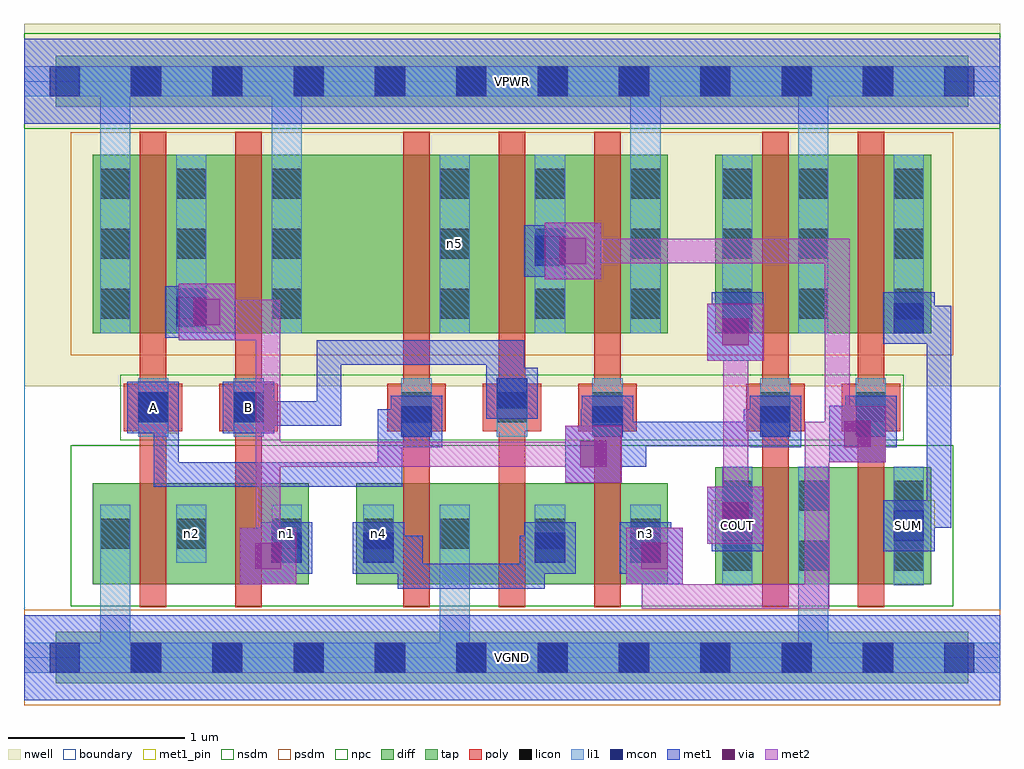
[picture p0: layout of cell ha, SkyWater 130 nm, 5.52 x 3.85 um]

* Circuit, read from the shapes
.subckt ha A B COUT SUM VGND VPWR n1 n2 n3 n4 n5
XM1 n2 A VGND VGND sky130_fd_pr__nfet_01v8 w=0.57 l=0.15
XM2 n1 B n2 VGND sky130_fd_pr__nfet_01v8 w=0.57 l=0.15
XM3 VGND A n4 VGND sky130_fd_pr__nfet_01v8 w=0.57 l=0.15
XM4 n4 B VGND VGND sky130_fd_pr__nfet_01v8 w=0.57 l=0.15
XM5 n3 n1 n4 VGND sky130_fd_pr__nfet_01v8 w=0.57 l=0.15
XM6 VGND n1 COUT VGND sky130_fd_pr__nfet_01v8 w=0.66 l=0.15
XM7 SUM n3 VGND VGND sky130_fd_pr__nfet_01v8 w=0.66 l=0.15
XM8 n1 A VPWR VPWR sky130_fd_pr__pfet_01v8 w=1.01 l=0.15
XM9 VPWR B n1 VPWR sky130_fd_pr__pfet_01v8 w=1.01 l=0.15
XM10 n5 A VPWR VPWR sky130_fd_pr__pfet_01v8 w=1.01 l=0.15
XM11 n3 B n5 VPWR sky130_fd_pr__pfet_01v8 w=1.01 l=0.15
XM12 VPWR n1 n3 VPWR sky130_fd_pr__pfet_01v8 w=1.01 l=0.15
XM13 VPWR n1 COUT VPWR sky130_fd_pr__pfet_01v8 w=1.01 l=0.15
XM14 SUM n3 VPWR VPWR sky130_fd_pr__pfet_01v8 w=1.01 l=0.15
.ends

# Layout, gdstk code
import gdstk
lib = gdstk.Library(unit=1e-6, precision=1e-09)
def R(c, l, rs):  # rectangles x0, y0, x1, y1
    for r in rs: c.add(gdstk.rectangle(r[:2], r[2:], *l))
def A(c, l, x, y, w, h, nx, ny, dx, dy):  # array of equal rectangles
    R(c, l, [(x+i*dx, y+j*dy, x+i*dx+w, y+j*dy+h) for i in range(nx) for j in range(ny)])
nwell = (64, 20)
diff = (65, 20)
tap = (65, 44)
poly = (66, 20)
licon = (66, 44)
li1 = (67, 20)
mcon = (67, 44)
met1_pin = (68, 16)
met1 = (68, 20)
via = (68, 44)
met2 = (69, 20)
nsdm = (93, 44)
psdm = (94, 20)
npc = (95, 20)
boundary = (235, 4)

c_ha = lib.new_cell('ha')
R(c_ha, nwell, [(0,1.535,5.52,3.585)])
R(c_ha, diff, [(0.39,0.415,1.61,0.985), (1.88,0.415,3.64,0.985), (3.91,0.415,5.13,1.075), (0.39,1.835,3.64,2.845), (3.91,1.835,5.13,2.845)])
R(c_ha, tap, [(0.18,-0.145,5.34,0.145), (0.18,3.115,5.34,3.405)])
A(c_ha, poly, 2.145, 0.285, 0.15, 2.69, 3, 1, 0.54, 0)
A(c_ha, poly, 2.055, 1.28, 0.33, 0.27, 3, 1, 0.54, 0)
R(c_ha, poly, [(0.655,0.285,0.805,2.975), (1.195,0.285,1.345,2.975), (4.175,0.285,4.325,2.975), (4.715,0.285,4.865,2.975), (0.565,1.28,0.895,1.55), (1.105,1.28,1.435,1.55), (4.085,1.28,4.415,1.55), (4.625,1.28,4.955,1.55)])
A(c_ha, licon, 0.605, -0.085, 0.17, 0.17, 10, 2, 0.46, 3.26)
A(c_ha, licon, 2.35, 0.615, 0.17, 0.17, 3, 2, 0.54, 1.3)
A(c_ha, licon, 2.135, 1.33, 0.17, 0.17, 3, 1, 0.54, 0)
A(c_ha, licon, 0.43, 1.915, 0.17, 0.17, 1, 3, 0, 0.34)
A(c_ha, licon, 0.86, 1.915, 0.17, 0.17, 1, 3, 0, 0.34)
A(c_ha, licon, 1.4, 1.915, 0.17, 0.17, 1, 3, 0, 0.34)
A(c_ha, licon, 3.95, 1.915, 0.17, 0.17, 1, 3, 0, 0.34)
A(c_ha, licon, 4.38, 1.915, 0.17, 0.17, 1, 3, 0, 0.34)
A(c_ha, licon, 4.92, 1.915, 0.17, 0.17, 1, 3, 0, 0.34)
A(c_ha, licon, 2.35, 2.255, 0.17, 0.17, 3, 2, 0.54, 0.34)
R(c_ha, licon, [(3.95,0.49,4.12,0.66), (4.38,0.49,4.55,0.66), (4.92,0.49,5.09,0.66), (0.43,0.615,0.6,0.785), (0.86,0.615,1.03,0.785), (1.4,0.615,1.57,0.785), (1.92,0.615,2.09,0.785), (3.95,0.83,4.12,1), (4.38,0.83,4.55,1), (4.92,0.83,5.09,1), (0.645,1.33,0.815,1.5), (1.185,1.33,1.355,1.5), (4.165,1.33,4.335,1.5), (4.705,1.33,4.875,1.5)])
A(c_ha, li1, 2.35, 0.535, 0.17, 0.33, 3, 1, 0.54, 0)
A(c_ha, li1, 2.135, 1.25, 0.17, 0.33, 3, 1, 0.54, 0)
A(c_ha, li1, 2.35, 1.835, 0.17, 1.01, 3, 1, 0.54, 0)
R(c_ha, li1, [(0,-0.085,5.52,0.085), (0.43,-0.085,0.6,0.865), (2.35,-0.085,2.52,0.865), (4.38,-0.085,4.55,1.08), (3.95,0.41,4.12,1.08), (4.38,0.41,4.55,1.08), (4.92,0.41,5.09,1.08), (0.43,0.535,0.6,0.865), (0.86,0.535,1.03,0.865), (1.4,0.535,1.57,0.865), (1.92,0.535,2.09,0.865), (0.645,1.25,0.815,1.58), (1.185,1.25,1.355,1.58), (4.165,1.25,4.335,1.58), (4.705,1.25,4.875,1.58), (0.43,1.835,0.6,2.845), (0.43,1.835,0.6,3.345), (0.86,1.835,1.03,2.845), (1.4,1.835,1.57,2.845), (1.4,1.835,1.57,3.345), (3.43,1.835,3.6,3.345), (3.95,1.835,4.12,2.845), (4.38,1.835,4.55,2.845), (4.38,1.835,4.55,3.345), (4.92,1.835,5.09,2.845), (0,3.175,5.52,3.345)])
A(c_ha, mcon, 0.145, -0.085, 0.17, 0.17, 12, 2, 0.46, 3.26)
R(c_ha, mcon, [(1.4,0.535,1.57,0.705), (1.92,0.535,2.09,0.705), (2.89,0.535,3.06,0.705), (3.43,0.535,3.6,0.705), (3.95,0.66,4.12,0.83), (4.92,0.66,5.09,0.83), (2.135,1.25,2.305,1.42), (3.215,1.25,3.385,1.42), (4.165,1.25,4.335,1.42), (4.705,1.25,4.875,1.42), (0.645,1.33,0.815,1.5), (1.185,1.33,1.355,1.5), (2.675,1.41,2.845,1.58), (3.95,1.835,4.12,2.005), (4.92,1.835,5.09,2.005), (0.86,1.87,1.03,2.04), (2.89,2.215,3.06,2.385)])
R(c_ha, met1_pin, [(0,-0.24,5.52,0.24), (3.89,0.6,4.18,0.89), (4.86,0.6,5.15,0.89), (0.585,1.27,0.875,1.56), (1.125,1.27,1.415,1.56), (0,3.02,5.52,3.5)])
R(c_ha, met1, [(0,-0.24,5.52,0.24), (2.115,0.39,2.945,0.53), (2.115,0.39,2.255,0.69), (2.805,0.39,2.945,0.69), (1.22,0.415,1.54,0.735), (3.405,0.415,3.725,0.735), (1.34,0.475,1.63,0.765), (1.86,0.475,2.15,0.765), (2.83,0.475,3.12,0.765), (3.37,0.475,3.66,0.765), (1.31,0.505,1.45,0.69), (3.495,0.505,3.635,0.69), (1.31,0.55,1.555,0.69), (1.935,0.55,2.255,0.69), (2.805,0.55,3.045,0.69), (3.445,0.55,3.635,0.69), (3.89,0.6,4.18,0.89), (4.86,0.6,5.15,0.89), (3.865,0.645,4.185,0.965), (3.955,0.735,4.095,0.875), (4.99,0.735,5.13,0.875), (4.99,0.735,5.245,0.875), (5.105,0.735,5.245,1.795), (0.735,0.965,0.875,1.45), (0.735,0.965,2.14,1.105), (2,0.965,2.14,1.22), (3.06,0.99,3.38,1.31), (2,1.08,2.14,1.405), (3.15,1.08,3.29,1.405), (3.15,1.08,3.52,1.22), (3.29,1.08,3.38,1.335), (3.38,1.08,3.52,1.335), (4.555,1.105,4.875,1.425), (2.075,1.19,2.365,1.48), (3.155,1.19,3.445,1.48), (4.105,1.19,4.395,1.48), (4.645,1.19,4.935,1.48), (3.38,1.195,4.21,1.335), (4.07,1.195,4.21,1.405), (4.645,1.195,4.785,1.405), (2,1.265,2.29,1.405), (3.15,1.265,3.37,1.405), (4.07,1.265,4.32,1.405), (4.645,1.265,4.86,1.405), (0.585,1.27,0.875,1.56), (1.125,1.27,1.415,1.56), (0.735,1.31,0.875,1.45), (1.195,1.31,1.335,1.45), (1.195,1.31,1.795,1.45), (1.655,1.31,1.795,1.795), (2.615,1.35,2.905,1.64), (2.69,1.425,2.83,1.795), (2.615,1.64,2.83,1.655), (1.655,1.655,2.83,1.795), (5.105,1.655,5.245,1.99), (3.865,1.68,4.185,2), (3.955,1.77,4.095,1.99), (3.89,1.775,4.18,2.065), (4.86,1.775,5.15,2.065), (0.875,1.795,1.195,2.115), (0.8,1.81,1.09,2.1), (3.955,1.85,4.105,1.99), (4.935,1.85,5.245,1.99), (0.875,1.885,1.105,2.025), (2.945,2.14,3.265,2.46), (2.83,2.155,3.12,2.445), (2.905,2.23,3.175,2.37), (0,3.02,5.52,3.5)])
R(c_ha, via, [(1.305,0.5,1.455,0.65), (3.49,0.5,3.64,0.65), (3.95,0.73,4.1,0.88), (3.145,1.075,3.295,1.225), (4.64,1.19,4.79,1.34), (3.95,1.765,4.1,1.915), (0.96,1.88,1.11,2.03), (3.03,2.225,3.18,2.375)])
R(c_ha, met2, [(3.495,0.275,3.635,0.645), (3.495,0.275,4.555,0.415), (4.415,0.275,4.555,1.335), (1.22,0.415,1.54,0.735), (3.405,0.415,3.725,0.735), (1.31,0.505,1.45,2.025), (3.865,0.645,4.185,0.965), (3.955,0.735,4.095,1.91), (3.06,0.99,3.38,1.31), (1.31,1.08,3.29,1.22), (4.555,1.105,4.875,1.425), (4.415,1.195,4.785,1.335), (4.53,1.195,4.67,2.37), (3.865,1.68,4.185,2), (0.875,1.795,1.195,2.115), (1.195,1.795,1.31,2.025), (0.965,1.885,1.45,2.025), (2.945,2.14,3.265,2.46), (3.035,2.23,4.67,2.37)])
R(c_ha, nsdm, [(0.265,0.29,5.255,1.2), (0,2.99,5.52,3.53)])
R(c_ha, psdm, [(0,-0.27,5.52,0.27), (0.265,1.71,5.255,2.97)])
R(c_ha, npc, [(0.545,1.23,4.975,1.6)])
R(c_ha, boundary, [(0,0,5.52,3.26)])
c_ha.add(gdstk.Label('n2', (0.945,0.7), layer=67, texttype=5))
c_ha.add(gdstk.Label('n1', (1.485,0.7), layer=67, texttype=5))
c_ha.add(gdstk.Label('n4', (2.005,0.7), layer=67, texttype=5))
c_ha.add(gdstk.Label('n3', (3.515,0.7), layer=67, texttype=5))
c_ha.add(gdstk.Label('n5', (2.435,2.34), layer=67, texttype=5))
c_ha.add(gdstk.Label('A', (0.73,1.415), layer=68, texttype=5))
c_ha.add(gdstk.Label('B', (1.27,1.415), layer=68, texttype=5))
c_ha.add(gdstk.Label('COUT', (4.035,0.745), layer=68, texttype=5))
c_ha.add(gdstk.Label('SUM', (5.005,0.745), layer=68, texttype=5))
c_ha.add(gdstk.Label('VPWR', (2.76,3.26), layer=68, texttype=5))
c_ha.add(gdstk.Label('VGND', (2.76,0), layer=68, texttype=5))
c_ha.add(gdstk.Label('A', (0.73,1.415), layer=68, texttype=16))
c_ha.add(gdstk.Label('B', (1.27,1.415), layer=68, texttype=16))
c_ha.add(gdstk.Label('COUT', (4.035,0.745), layer=68, texttype=16))
c_ha.add(gdstk.Label('SUM', (5.005,0.745), layer=68, texttype=16))
c_ha.add(gdstk.Label('VPWR', (2.76,3.26), layer=68, texttype=16))
c_ha.add(gdstk.Label('VGND', (2.76,0), layer=68, texttype=16))

lib.write_gds('ha.gds')
